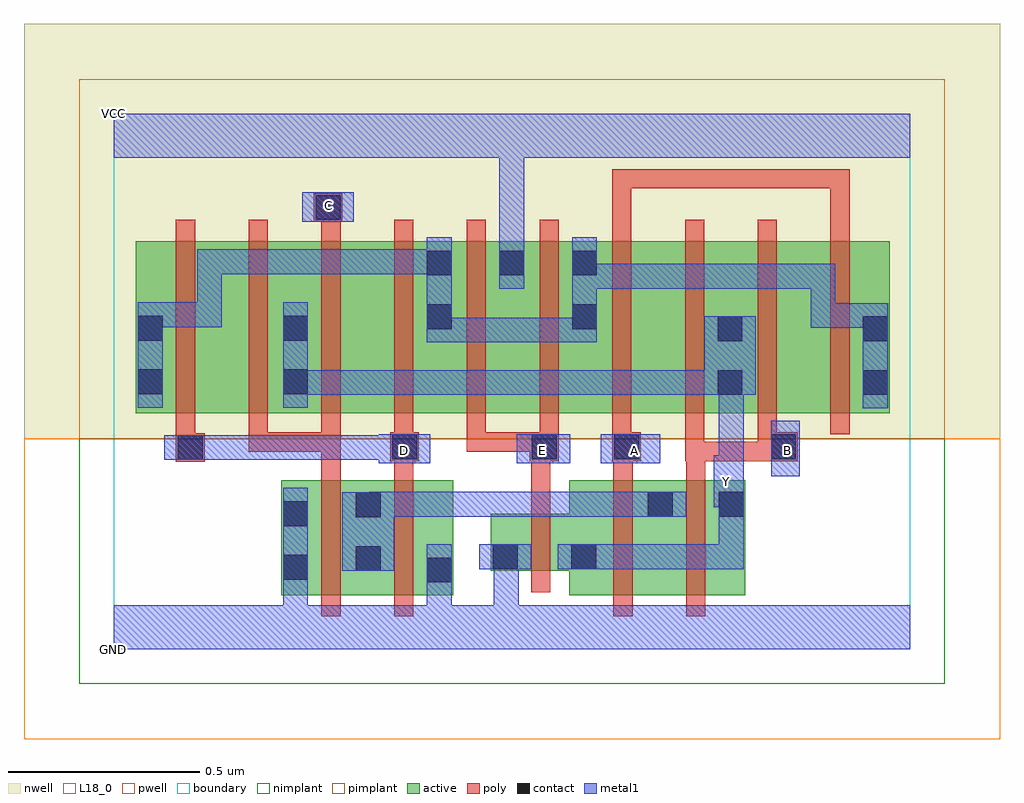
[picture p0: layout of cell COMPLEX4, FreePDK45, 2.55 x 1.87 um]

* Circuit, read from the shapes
.subckt COMPLEX4 A B C D E GND VCC Y
M1 n1 C GND VSUBS nfet w=0.3u l=0.05u
M2 GND D n1 VSUBS nfet w=0.3u l=0.05u
M3 Y E GND VSUBS nfet w=0.15u l=0.05u
M4 n1 A Y VSUBS nfet w=0.3u l=0.05u
M5 Y B n1 VSUBS nfet w=0.3u l=0.05u
M6 n2 D n3 n4 pfet w=0.45u l=0.05u
M7 Y C n2 n4 pfet w=0.45u l=0.05u
M8 n5 C Y n4 pfet w=0.45u l=0.05u
M9 n3 D n5 n4 pfet w=0.45u l=0.05u
M10 VCC E n3 n4 pfet w=0.45u l=0.05u m=2
M11 n6 A n3 n4 pfet w=0.45u l=0.05u
M12 Y B n6 n4 pfet w=0.45u l=0.05u
M13 n7 B Y n4 pfet w=0.45u l=0.05u
M14 n3 A n7 n4 pfet w=0.45u l=0.05u
.ends

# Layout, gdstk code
import gdstk
lib = gdstk.Library(unit=1e-6, precision=1e-09)
def R(c, l, rs):  # rectangles x0, y0, x1, y1
    for r in rs: c.add(gdstk.rectangle(r[:2], r[2:], *l))
def A(c, l, x, y, w, h, nx, ny, dx, dy):  # array of equal rectangles
    R(c, l, [(x+i*dx, y+j*dy, x+i*dx+w, y+j*dy+h) for i in range(nx) for j in range(ny)])
active = (1, 0)
pwell = (2, 0)
nwell = (3, 0)
nimplant = (4, 0)
pimplant = (5, 0)
poly = (9, 0)
contact = (10, 0)
metal1 = (11, 0)
L18_0 = (18, 0)
boundary = (235, 0)

complex4 = lib.new_cell('COMPLEX4')
R(complex4, active, [(0.437,0.142,0.702,0.442), (0.627,0.142,0.887,0.442), (0.812,0.142,0.887,0.442), (1.19,0.142,1.465,0.442), (1.39,0.142,1.65,0.442), (0.437,0.175,0.512,0.442), (0.627,0.195,0.702,0.415), (1.39,0.195,1.465,0.417), (1.575,0.195,1.65,0.442), (1.19,0.2,1.265,0.28), (0.985,0.205,1.265,0.355), (0.985,0.205,1.06,0.355), (0.057,0.617,0.132,1.055), (0.057,0.617,0.282,1.067), (0.282,0.617,0.512,1.067), (0.437,0.617,0.662,1.067), (0.662,0.617,0.887,1.067), (0.812,0.617,1.077,1.067), (1.002,0.617,1.267,1.067), (1.192,0.617,1.422,1.067), (1.422,0.617,1.647,1.067), (1.572,0.617,1.647,1.055), (1.572,0.617,1.802,1.067), (1.802,0.617,2.027,1.067), (1.952,0.617,2.027,1.055), (0.437,0.625,0.512,0.937), (0.812,0.702,0.887,1.055), (1.192,0.742,1.267,1.055), (1.002,0.857,1.077,1.067)])
R(complex4, pwell, [(-0.235,-0.235,2.315,0.55)])
R(complex4, nwell, [(-0.235,0.55,2.315,1.635)])
R(complex4, nimplant, [(-0.09,-0.09,2.17,0.55)])
R(complex4, pimplant, [(-0.09,0.55,2.17,1.49)])
A(complex4, poly, 0.352, 0.517, 0.05, 0.095, 6, 1, 0.19, 0)
A(complex4, poly, 0.162, 0.562, 0.05, 0.56, 10, 1, 0.19, 0)
R(complex4, poly, [(0.542,0.087,0.592,0.497), (0.732,0.087,0.782,0.497), (1.305,0.087,1.355,0.497), (1.495,0.087,1.545,0.497), (1.09,0.15,1.14,0.41), (1.09,0.36,1.14,0.542), (0.542,0.447,0.592,0.567), (0.732,0.447,0.782,0.542), (1.305,0.447,1.355,0.542), (1.495,0.447,1.545,0.542), (0.162,0.49,0.237,0.565), (0.722,0.492,0.797,0.567), (1.087,0.492,1.162,0.567), (1.302,0.492,1.377,0.567), (1.492,0.492,1.542,0.612), (1.492,0.492,1.545,0.542), (1.495,0.492,1.545,0.542), (1.495,0.492,1.545,0.542), (1.495,0.492,1.732,0.542), (1.682,0.492,1.787,0.567), (0.162,0.515,0.212,0.612), (0.352,0.517,0.402,0.567), (0.352,0.517,0.402,0.567), (0.352,0.517,0.402,0.567), (0.352,0.517,0.592,0.567), (0.542,0.517,0.592,0.567), (0.922,0.517,0.972,0.567), (0.922,0.517,1.137,0.567), (1.087,0.517,1.137,0.567), (1.087,0.517,1.137,0.567), (1.682,0.517,1.732,0.612), (0.542,1.072,0.592,1.167), (1.302,1.072,1.352,1.255), (1.872,1.072,1.922,1.255), (0.522,1.117,0.597,1.192), (1.302,1.205,1.352,1.255), (1.302,1.205,1.352,1.255), (1.302,1.205,1.352,1.255), (1.302,1.205,1.6,1.255), (1.55,1.205,1.6,1.255), (1.55,1.205,1.6,1.255), (1.55,1.205,1.6,1.255), (1.55,1.205,1.79,1.255), (1.74,1.205,1.922,1.255), (1.74,1.205,1.79,1.255), (1.74,1.205,1.79,1.255), (1.74,1.205,1.79,1.255), (1.872,1.205,1.922,1.255)])
A(complex4, contact, 0.817, 0.977, 0.065, 0.065, 3, 1, 0.19, 0)
R(complex4, contact, [(0.817,0.175,0.882,0.24), (0.442,0.182,0.507,0.247), (0.632,0.205,0.697,0.27), (0.99,0.21,1.055,0.275), (1.195,0.21,1.26,0.275), (0.442,0.322,0.507,0.387), (0.632,0.345,0.697,0.41), (1.395,0.347,1.46,0.412), (1.58,0.347,1.645,0.412), (0.167,0.495,0.232,0.56), (0.727,0.497,0.792,0.562), (1.092,0.497,1.157,0.562), (1.307,0.497,1.372,0.562), (1.717,0.497,1.782,0.562), (1.577,0.665,1.642,0.73), (1.957,0.665,2.022,0.73), (0.062,0.667,0.127,0.732), (0.442,0.667,0.507,0.732), (1.577,0.805,1.642,0.87), (1.957,0.805,2.022,0.87), (0.062,0.807,0.127,0.872), (0.442,0.807,0.507,0.872), (0.817,0.837,0.882,0.902), (1.197,0.837,1.262,0.902), (0.527,1.122,0.592,1.187)])
R(complex4, metal1, [(0,0,2.08,0.115), (0.442,0.05,0.507,0.212), (0.817,0.05,0.882,0.205), (0.992,0.05,1.057,0.115), (0.992,0.05,1.057,0.115), (0.992,0.05,1.057,0.275), (0.817,0.14,0.882,0.205), (0.817,0.14,0.882,0.205), (0.817,0.14,0.882,0.275), (0.442,0.147,0.507,0.212), (0.442,0.147,0.507,0.212), (0.442,0.147,0.507,0.422), (0.597,0.205,0.732,0.41), (0.955,0.21,1.09,0.275), (0.992,0.21,1.057,0.275), (0.992,0.21,1.057,0.275), (1.16,0.21,1.295,0.275), (1.23,0.21,1.295,0.275), (1.23,0.21,1.295,0.275), (1.23,0.21,1.432,0.275), (1.367,0.21,1.432,0.275), (1.367,0.21,1.432,0.275), (1.367,0.21,1.432,0.275), (1.367,0.21,1.645,0.275), (1.58,0.21,1.645,0.275), (1.58,0.21,1.645,0.377), (1.58,0.312,1.645,0.447), (0.667,0.345,0.732,0.41), (0.667,0.345,0.732,0.412), (0.667,0.347,0.882,0.412), (0.817,0.347,0.882,0.412), (0.817,0.347,0.882,0.412), (0.817,0.347,0.882,0.412), (0.817,0.347,1.087,0.412), (1.022,0.347,1.087,0.412), (1.022,0.347,1.087,0.412), (1.022,0.347,1.087,0.412), (1.022,0.347,1.287,0.412), (1.222,0.347,1.287,0.412), (1.222,0.347,1.287,0.412), (1.222,0.347,1.287,0.412), (1.222,0.347,1.425,0.412), (1.36,0.347,1.495,0.412), (1.567,0.372,1.645,0.507), (1.58,0.382,1.645,0.447), (1.58,0.442,1.645,0.73), (1.717,0.452,1.792,0.597), (0.692,0.487,0.827,0.562), (1.052,0.487,1.192,0.562), (1.272,0.487,1.427,0.562), (0.132,0.495,0.267,0.56), (0.202,0.495,0.267,0.56), (0.202,0.495,0.267,0.56), (0.202,0.495,0.42,0.56), (0.355,0.495,0.42,0.56), (0.355,0.495,0.42,0.56), (0.355,0.495,0.42,0.56), (0.355,0.495,0.595,0.56), (0.53,0.495,0.595,0.56), (0.53,0.495,0.645,0.56), (0.58,0.495,0.645,0.56), (0.58,0.495,0.757,0.56), (1.957,0.63,2.022,0.905), (0.062,0.632,0.127,0.907), (0.442,0.632,0.507,0.907), (0.442,0.665,0.557,0.73), (0.492,0.665,0.557,0.73), (0.492,0.665,0.745,0.73), (0.68,0.665,0.745,0.73), (0.68,0.665,0.745,0.73), (0.68,0.665,0.745,0.73), (0.68,0.665,0.882,0.73), (0.817,0.665,0.882,0.73), (0.817,0.665,0.882,0.73), (0.817,0.665,0.882,0.73), (0.817,0.665,1.02,0.73), (0.955,0.665,1.02,0.73), (0.955,0.665,1.02,0.73), (0.955,0.665,1.02,0.73), (0.955,0.665,1.287,0.73), (1.222,0.665,1.287,0.73), (1.222,0.665,1.287,0.73), (1.222,0.665,1.287,0.73), (1.222,0.665,1.47,0.73), (1.405,0.665,1.47,0.73), (1.405,0.665,1.607,0.73), (1.542,0.665,1.607,0.73), (1.542,0.665,1.607,0.73), (1.542,0.665,1.677,0.87), (0.817,0.802,0.882,0.867), (0.817,0.802,0.882,0.867), (0.817,0.802,0.882,1.077), (0.817,0.802,1.087,0.867), (1.022,0.802,1.087,0.867), (1.022,0.802,1.087,0.867), (1.022,0.802,1.087,0.867), (1.022,0.802,1.262,0.867), (1.197,0.802,1.262,1.077), (1.82,0.84,1.885,0.905), (1.82,0.84,2.022,0.905), (1.82,0.84,1.885,1.007), (1.957,0.84,2.022,0.905), (1.957,0.84,2.022,0.905), (0.062,0.842,0.127,0.907), (0.062,0.842,0.127,0.907), (0.062,0.842,0.282,0.907), (0.217,0.842,0.282,0.907), (0.217,0.842,0.282,1.045), (1.007,0.942,1.072,1.077), (1.197,0.942,1.262,1.007), (1.197,0.942,1.262,1.007), (1.197,0.942,1.432,1.007), (1.367,0.942,1.432,1.007), (1.367,0.942,1.432,1.007), (1.367,0.942,1.432,1.007), (1.367,0.942,1.747,1.007), (1.682,0.942,1.747,1.007), (1.682,0.942,1.885,1.007), (1.82,0.942,1.885,1.007), (1.82,0.942,1.885,1.007), (1.82,0.942,1.885,1.007), (0.217,0.98,0.282,1.045), (0.217,0.98,0.42,1.045), (0.355,0.98,0.42,1.045), (0.355,0.98,0.42,1.045), (0.355,0.98,0.42,1.045), (0.355,0.98,0.557,1.045), (0.492,0.98,0.557,1.045), (0.492,0.98,0.745,1.045), (0.68,0.98,0.745,1.045), (0.68,0.98,0.745,1.045), (0.68,0.98,0.745,1.045), (0.68,0.98,0.882,1.045), (1.007,1.012,1.072,1.077), (1.007,1.012,1.072,1.077), (1.007,1.012,1.072,1.35), (0.492,1.117,0.627,1.195), (0,1.285,2.08,1.4), (1.007,1.285,1.072,1.35), (1.007,1.285,1.072,1.35)])
R(complex4, L18_0, [(0,0,2.08,0.115), (0.442,0.05,0.507,0.212), (0.817,0.05,0.882,0.205), (0.992,0.05,1.057,0.115), (0.992,0.05,1.057,0.115), (0.992,0.05,1.057,0.275), (0.817,0.14,0.882,0.205), (0.817,0.14,0.882,0.205), (0.817,0.14,0.882,0.275), (0.442,0.147,0.507,0.212), (0.442,0.147,0.507,0.212), (0.442,0.147,0.507,0.422), (0.955,0.21,1.09,0.275), (0.992,0.21,1.057,0.275), (0.992,0.21,1.057,0.275), (1.16,0.21,1.295,0.275), (1.23,0.21,1.295,0.275), (1.23,0.21,1.295,0.275), (1.23,0.21,1.432,0.275), (1.367,0.21,1.432,0.275), (1.367,0.21,1.432,0.275), (1.367,0.21,1.432,0.275), (1.367,0.21,1.645,0.275), (1.58,0.21,1.645,0.275), (1.58,0.21,1.645,0.377), (1.58,0.312,1.645,0.447), (1.567,0.372,1.645,0.507), (1.58,0.382,1.645,0.447), (1.567,0.407,1.632,0.472), (1.58,0.442,1.645,0.73), (1.717,0.452,1.792,0.597), (0.692,0.487,0.827,0.562), (0.727,0.487,0.792,0.552), (1.052,0.487,1.192,0.562), (1.087,0.487,1.152,0.552), (1.272,0.487,1.427,0.562), (1.327,0.487,1.392,0.552), (1.727,0.487,1.792,0.552), (0.132,0.495,0.267,0.56), (0.202,0.495,0.267,0.56), (0.202,0.495,0.267,0.56), (0.202,0.495,0.42,0.56), (0.355,0.495,0.42,0.56), (0.355,0.495,0.42,0.56), (0.355,0.495,0.42,0.56), (0.355,0.495,0.595,0.56), (0.53,0.495,0.595,0.56), (0.53,0.495,0.645,0.56), (0.58,0.495,0.645,0.56), (0.58,0.495,0.757,0.56), (0.442,0.632,0.507,0.907), (0.442,0.665,0.557,0.73), (0.492,0.665,0.557,0.73), (0.492,0.665,0.745,0.73), (0.68,0.665,0.745,0.73), (0.68,0.665,0.745,0.73), (0.68,0.665,0.745,0.73), (0.68,0.665,0.882,0.73), (0.817,0.665,0.882,0.73), (0.817,0.665,0.882,0.73), (0.817,0.665,0.882,0.73), (0.817,0.665,1.02,0.73), (0.955,0.665,1.02,0.73), (0.955,0.665,1.02,0.73), (0.955,0.665,1.02,0.73), (0.955,0.665,1.287,0.73), (1.222,0.665,1.287,0.73), (1.222,0.665,1.287,0.73), (1.222,0.665,1.287,0.73), (1.222,0.665,1.47,0.73), (1.405,0.665,1.47,0.73), (1.405,0.665,1.607,0.73), (1.542,0.665,1.607,0.73), (1.542,0.665,1.607,0.73), (1.542,0.665,1.677,0.87), (1.007,0.942,1.072,1.077), (1.007,1.012,1.072,1.077), (1.007,1.012,1.072,1.077), (1.007,1.012,1.072,1.35), (0.492,1.117,0.627,1.195), (0.527,1.127,0.592,1.192), (0,1.285,2.08,1.4), (1.007,1.285,1.072,1.35), (1.007,1.285,1.072,1.35)])
R(complex4, boundary, [(0,0,2.08,1.4)])
complex4.add(gdstk.Label('A', (1.36,0.52), layer=11, texttype=0))
complex4.add(gdstk.Label('B', (1.76,0.52), layer=11, texttype=0))
complex4.add(gdstk.Label('C', (0.56,1.16), layer=11, texttype=0))
complex4.add(gdstk.Label('D', (0.76,0.52), layer=11, texttype=0))
complex4.add(gdstk.Label('E', (1.12,0.52), layer=11, texttype=0))
complex4.add(gdstk.Label('Y', (1.6,0.44), layer=11, texttype=0))
complex4.add(gdstk.Label('VCC', (0,1.4), layer=11, texttype=0))
complex4.add(gdstk.Label('GND', (0,0), layer=11, texttype=0))

lib.write_gds('COMPLEX4.gds')
